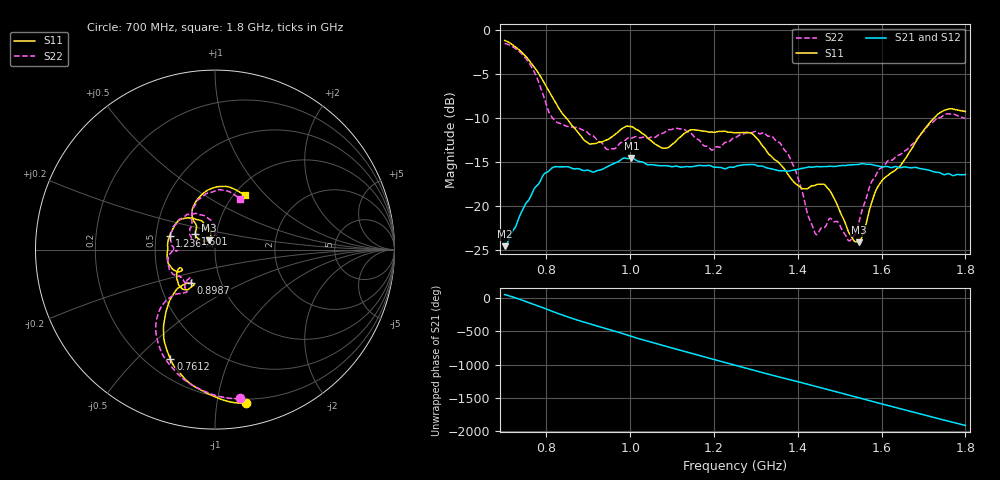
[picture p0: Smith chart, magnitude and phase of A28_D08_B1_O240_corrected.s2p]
! Created with skrf 1.9.0 (http://scikit-rf.org).
# Hz S RI R 50.0
!freq ReS11 ImS11 ReS21 ImS21 ReS12 ImS12 ReS22 ImS22
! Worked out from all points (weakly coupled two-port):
!   1601 points, 700 MHz to 1.8 GHz, reference 50 ohm
!   highest |S21| = -14.52 dB at 1.002 GHz (marker M1); lowest = -24.6 dB at 700.7 MHz (marker M2)
!   lowest |S11| = -24.1 dB at 1.546 GHz (marker M3), VSWR 1.13, Z = 46.4 + j4.79 ohm
!   |S11| at or under -10 dB: 847.7 MHz to 1.725 GHz (877 MHz wide, 68.2 % of centre)
!   |S22| runs from -23.9 to -1.5 dB; largest |S21 - S12| = 0.0036
!   S11 on the Smith chart (normalised r, x): 700 MHz: 0.17, -1.21; 761.2 MHz: 0.29, -0.63; 898.7 MHz: 0.72, -0.28; 1.236 GHz: 0.59, +0.09; 1.601 GHz: 0.79, +0.14; 1.8 GHz: 1.12, +0.77
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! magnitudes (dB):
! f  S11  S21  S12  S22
! 700 MHz  -1.2  -24.6  -24.3  -1.5
! 700.7 MHz  -1.2  -24.6  -24.2  -1.5
! 761.2 MHz  -3.6  -19.0  -18.9  -3.9
! 814.8 MHz  -7.7  -15.6  -15.7  -10.0
! 883.6 MHz  -12.1  -15.9  -15.8  -11.3
! 898.7 MHz  -12.8  -15.9  -16.0  -11.7
! 946.8 MHz  -12.4  -15.5  -15.5  -13.6
! 1.002 GHz  -11.0  -14.5  -14.6  -12.3
! 1.067 GHz  -13.2  -15.4  -15.3  -11.9
! 1.236 GHz  -11.6  -15.6  -15.7  -12.7
! 1.25 GHz  -11.7  -15.5  -15.5  -12.2
! 1.292 GHz  -11.8  -15.3  -15.3  -11.6
! 1.359 GHz  -15.3  -16.0  -16.0  -12.9
! 1.394 GHz  -17.4  -15.9  -15.9  -15.8
! 1.434 GHz  -17.7  -15.6  -15.5  -22.1
! 1.473 GHz  -18.1  -15.5  -15.5  -21.5
! 1.524 GHz  -23.1  -15.3  -15.3  -23.9
! 1.546 GHz  -24.1  -15.3  -15.2  -21.9
! 1.601 GHz  -17.1  -15.5  -15.5  -15.6
! 1.617 GHz  -16.4  -15.5  -15.5  -14.8
! 1.734 GHz  -9.6  -16.1  -16.2  -10.0
! 1.8 GHz  -9.2  -16.4  -16.4  -10.0
